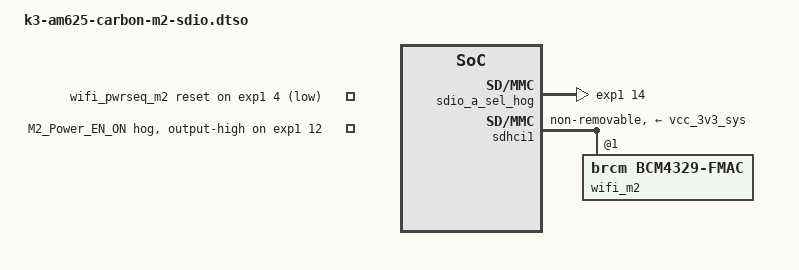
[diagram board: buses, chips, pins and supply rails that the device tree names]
// SPDX-License-Identifier: GPL-2.0
/*
 * M.2 SDIO module
 * Copyright (C) 2024 Ezurio LLC
 */

/dts-v1/;
/plugin/;

#include <dt-bindings/gpio/gpio.h>

&{/} {
	wifi_pwrseq_m2: wifi-pwrseq-m2 {
		compatible = "mmc-pwrseq-simple";
		reset-gpios = <&exp1 4 GPIO_ACTIVE_LOW>; /* M2_WDISABLE1 */
		post-power-on-delay-ms = <100>;
		status = "okay";
	};
};

&exp1 {
	/* Turn on M2_Power_EN */
	m2_power_en_hog: m2-power-en-hog {
		/* M2_Power_EN U35 P14 */
		gpio-hog;
		gpios = <12 GPIO_ACTIVE_HIGH>;
		output-high;
		line-name = "M2_Power_EN_ON";
	};
};

/* Force SDIO_A_SEL output-low for SDCARD, high for M.2 */
&sdio_a_sel_hog {
	line-name = "SDIO_A_SEL_M2";
	/*
	 * We cannot do /delete-property/ output-low;
	 * in an overlay. So we change the GPIO to
	 * ACTIVE_LOW, to set it high, instead.
	*/
	gpios = <&exp1 14 GPIO_ACTIVE_LOW>;
};

&sdhci1 { /* SDIO_A uSD / M.2_SDIO */
	status = "okay";
	bootph-all;
	vmmc-supply = <&vcc_3v3_sys>;
	vqmmc-supply = <&vcc_1v8_sys>;
	mmc-pwrseq = <&wifi_pwrseq_m2>;
	non-removable;
	ti,fails-without-test-cd;
	cap-power-off-card;
	keep-power-in-suspend;
	#address-cells = <1>;
	#size-cells = <0>;

	/* 32 KHz SUSCLK is on carrier */

	wifi_m2@1 {
		reg = <1>;
		compatible = "brcm,bcm4329-fmac";
		laird,regdomain = "US";
	};
};
